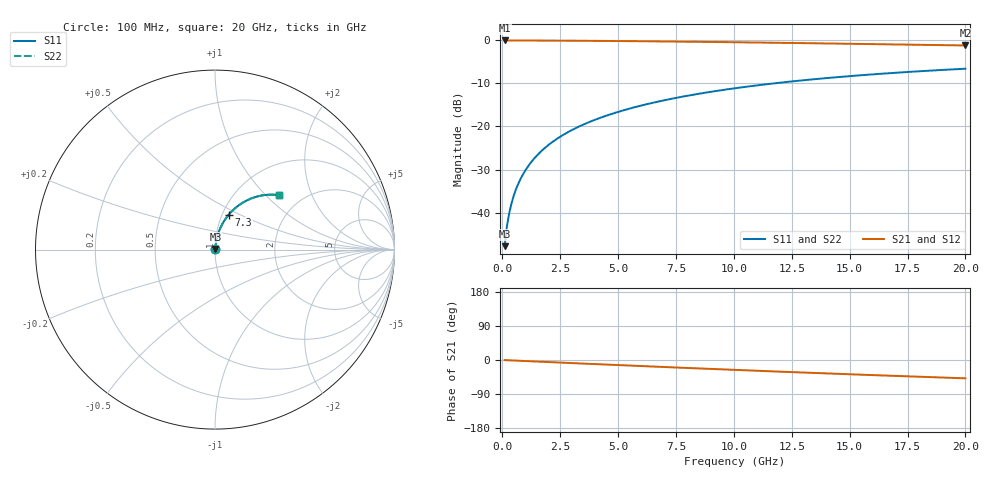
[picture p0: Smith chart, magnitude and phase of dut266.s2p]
! Touchstone file exported from HFSS 2026.1.0
!  File:  C:/ffzhzh/LocalFiles/Ansys_Project_Files/temp_train_TMRDL_266_1782985078_6248.aedt
!  Generated:  05:39:28 PM Jul  2, 2026
!  Design:  TMRDL
!  Project:  temp_train_TMRDL_266_1782985078_6248
! Variables:
!  h_bsmrdl = 2um
!  h_ox = 20um
!  h_rdl = 5um
!  h_sub = 80um
!  h_tmrdl = 5.76um
!  h_tsv = 80um
!  h_via = 3um
!  l_bsmrdl = 300um
!  l_sub = 1105.17um
!  l_tmrdl = 705.17um
!  m_sub = 200um
!  pitch = 53.57um
!  r_tsv = 6um
!  s_tmrdl = 10um
!  w_bsmrdl = 18um
!  w_sub = 500um
!  w_tmrdl = 18.44um
!  x_tsv_center1 = 714.39um
!  x_tsv_center2 = 1032.39um
!  x_tsv_center3 = 1756um
!  x_tsv_center4 = 2074um
!  x_tsv_center5 = 2797.61um
!  x_tsv_center6 = 3115.61um
# GHz S MA R 50.000000
! Terminal data exported
! Port[1] = TM_RDL1_1_T1
! Port[2] = TM_RDL1_1_T2
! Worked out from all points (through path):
!   200 points, 100 MHz to 20 GHz, reference 50 ohm
!   highest |S21| = -0.02 dB at 100 MHz (marker M1); lowest = -1.2 dB at 20 GHz (marker M2)
!   group delay of S21, straight-line fit = 6.72 ps
!   lowest |S11| = -47.8 dB at 100 MHz (marker M3), VSWR 1.01, Z = 50.2 + j0.324 ohm
!   |S11| at or under -10 dB: start of sweep to 11.71 GHz
!   |S22| runs from -47.8 to -6.6 dB; largest |S21 - S12| = 2.2e-15
!   S11 on the Smith chart (normalised r, x): 100 MHz: 1.00, +0.01; 7.3 GHz: 1.07, +0.44; 20 GHz: 1.54, +1.20
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0.1  0.00407 52.4  0.9975 -0.3  0.9975 -0.3  0.00407 52.4
! Gamma 0 0 0 0
! Port Impedance 50 0 50 0
0.2  0.006898 67.4  0.9974 -0.6  0.9974 -0.6  0.006898 67.4
0.3  0.009863 73.3  0.9973 -0.8  0.9973 -0.8  0.009864 73.3
0.4  0.01285 76.4  0.9971 -1.1  0.9971 -1.1  0.01285 76.4
0.5  0.01586 78.2  0.997 -1.4  0.997 -1.4  0.01586 78.2
0.7  0.0219 80.2  0.9968 -1.9  0.9968 -1.9  0.0219 80.2
0.8  0.02493 80.8  0.9967 -2.2  0.9967 -2.2  0.02493 80.8
1  0.03099 81.4  0.9964 -2.8  0.9964 -2.8  0.03099 81.4
1.2  0.03705 81.6  0.9961 -3.3  0.9961 -3.3  0.03705 81.6
1.4  0.0431 81.6  0.9957 -3.8  0.9957 -3.8  0.0431 81.6
1.7  0.05214 81.3  0.995 -4.7  0.995 -4.7  0.05214 81.3
2  0.06113 80.9  0.9943 -5.5  0.9943 -5.5  0.06113 80.9
2.7  0.08188 79.5  0.9921 -7.3  0.9921 -7.3  0.08188 79.5
3.5  0.1052 77.6  0.9892 -9.5  0.9892 -9.5  0.1052 77.6
4.2  0.1251 76.0  0.9862 -11.3  0.9862 -11.3  0.1251 76.0
5  0.1476 74.0  0.9825 -13.4  0.9825 -13.4  0.1476 74.0
6.8  0.1963 69.7  0.9728 -18.0  0.9728 -18.0  0.1963 69.7
7.3  0.2094 68.5  0.9698 -19.3  0.9698 -19.3  0.2094 68.5
10.1  0.2791 61.9  0.9511 -26.2  0.9511 -26.2  0.2791 61.9
13.4  0.3524 54.3  0.9257 -34.0  0.9257 -34.0  0.3524 54.3
16.7  0.4155 47.1  0.8989 -41.4  0.8989 -41.4  0.4155 47.1
20  0.4685 40.3  0.8725 -48.4  0.8725 -48.4  0.4685 40.3
